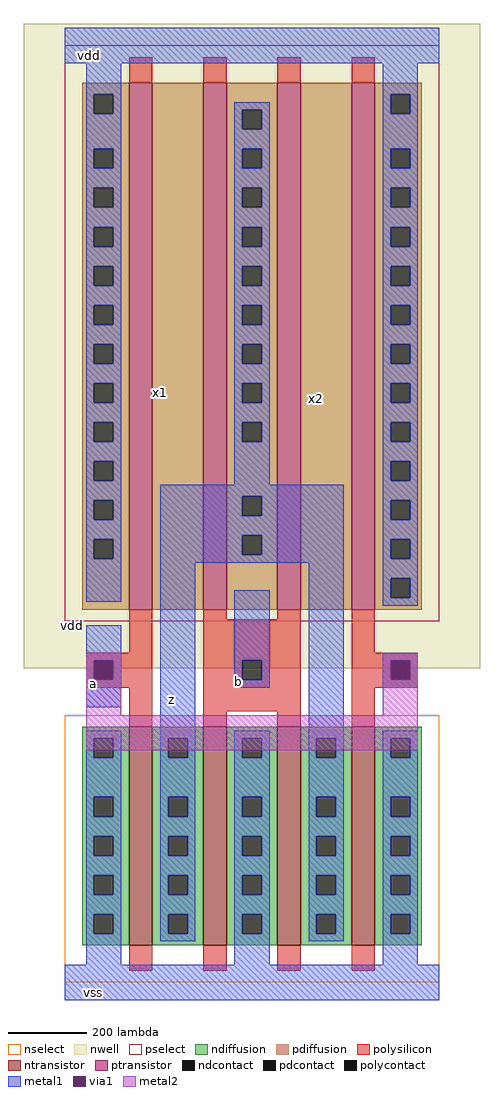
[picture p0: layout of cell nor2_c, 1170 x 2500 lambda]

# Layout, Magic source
magic
tech amic5n
<< nwell >>
rect 895 805 2065 2455
<< ntransistor >>
rect 1165 95 1225 655
rect 1355 95 1415 655
rect 1545 95 1605 655
rect 1735 95 1795 655
<< ptransistor >>
rect 1165 955 1225 2305
rect 1355 955 1415 2305
rect 1545 955 1605 2305
rect 1735 955 1795 2305
<< nselect >>
rect 1000 0 1960 685
<< pselect >>
rect 1000 925 1960 2400
<< ndiffusion >>
rect 1045 625 1165 655
rect 1045 575 1075 625
rect 1125 575 1165 625
rect 1045 475 1165 575
rect 1045 425 1075 475
rect 1125 425 1165 475
rect 1045 375 1165 425
rect 1045 325 1075 375
rect 1125 325 1165 375
rect 1045 275 1165 325
rect 1045 225 1075 275
rect 1125 225 1165 275
rect 1045 175 1165 225
rect 1045 125 1075 175
rect 1125 125 1165 175
rect 1045 95 1165 125
rect 1225 625 1355 655
rect 1225 575 1265 625
rect 1315 575 1355 625
rect 1225 475 1355 575
rect 1225 425 1265 475
rect 1315 425 1355 475
rect 1225 375 1355 425
rect 1225 325 1265 375
rect 1315 325 1355 375
rect 1225 275 1355 325
rect 1225 225 1265 275
rect 1315 225 1355 275
rect 1225 175 1355 225
rect 1225 125 1265 175
rect 1315 125 1355 175
rect 1225 95 1355 125
rect 1415 625 1545 655
rect 1415 575 1455 625
rect 1505 575 1545 625
rect 1415 475 1545 575
rect 1415 425 1455 475
rect 1505 425 1545 475
rect 1415 375 1545 425
rect 1415 325 1455 375
rect 1505 325 1545 375
rect 1415 275 1545 325
rect 1415 225 1455 275
rect 1505 225 1545 275
rect 1415 175 1545 225
rect 1415 125 1455 175
rect 1505 125 1545 175
rect 1415 95 1545 125
rect 1605 625 1735 655
rect 1605 575 1645 625
rect 1695 575 1735 625
rect 1605 475 1735 575
rect 1605 425 1645 475
rect 1695 425 1735 475
rect 1605 375 1735 425
rect 1605 325 1645 375
rect 1695 325 1735 375
rect 1605 275 1735 325
rect 1605 225 1645 275
rect 1695 225 1735 275
rect 1605 175 1735 225
rect 1605 125 1645 175
rect 1695 125 1735 175
rect 1605 95 1735 125
rect 1795 625 1915 655
rect 1795 575 1835 625
rect 1885 575 1915 625
rect 1795 475 1915 575
rect 1795 425 1835 475
rect 1885 425 1915 475
rect 1795 375 1915 425
rect 1795 325 1835 375
rect 1885 325 1915 375
rect 1795 275 1915 325
rect 1795 225 1835 275
rect 1885 225 1915 275
rect 1795 175 1915 225
rect 1795 125 1835 175
rect 1885 125 1915 175
rect 1795 95 1915 125
<< pdiffusion >>
rect 1045 2275 1165 2305
rect 1045 2225 1075 2275
rect 1125 2225 1165 2275
rect 1045 2135 1165 2225
rect 1045 2085 1075 2135
rect 1125 2085 1165 2135
rect 1045 2035 1165 2085
rect 1045 1985 1075 2035
rect 1125 1985 1165 2035
rect 1045 1935 1165 1985
rect 1045 1885 1075 1935
rect 1125 1885 1165 1935
rect 1045 1835 1165 1885
rect 1045 1785 1075 1835
rect 1125 1785 1165 1835
rect 1045 1735 1165 1785
rect 1045 1685 1075 1735
rect 1125 1685 1165 1735
rect 1045 1635 1165 1685
rect 1045 1585 1075 1635
rect 1125 1585 1165 1635
rect 1045 1535 1165 1585
rect 1045 1485 1075 1535
rect 1125 1485 1165 1535
rect 1045 1435 1165 1485
rect 1045 1385 1075 1435
rect 1125 1385 1165 1435
rect 1045 1335 1165 1385
rect 1045 1285 1075 1335
rect 1125 1285 1165 1335
rect 1045 1235 1165 1285
rect 1045 1185 1075 1235
rect 1125 1185 1165 1235
rect 1045 1135 1165 1185
rect 1045 1085 1075 1135
rect 1125 1085 1165 1135
rect 1045 955 1165 1085
rect 1225 955 1355 2305
rect 1415 2235 1545 2305
rect 1415 2185 1455 2235
rect 1505 2185 1545 2235
rect 1415 2135 1545 2185
rect 1415 2085 1455 2135
rect 1505 2085 1545 2135
rect 1415 2035 1545 2085
rect 1415 1985 1455 2035
rect 1505 1985 1545 2035
rect 1415 1935 1545 1985
rect 1415 1885 1455 1935
rect 1505 1885 1545 1935
rect 1415 1835 1545 1885
rect 1415 1785 1455 1835
rect 1505 1785 1545 1835
rect 1415 1735 1545 1785
rect 1415 1685 1455 1735
rect 1505 1685 1545 1735
rect 1415 1635 1545 1685
rect 1415 1585 1455 1635
rect 1505 1585 1545 1635
rect 1415 1535 1545 1585
rect 1415 1485 1455 1535
rect 1505 1485 1545 1535
rect 1415 1435 1545 1485
rect 1415 1385 1455 1435
rect 1505 1385 1545 1435
rect 1415 1245 1545 1385
rect 1415 1195 1455 1245
rect 1505 1195 1545 1245
rect 1415 1145 1545 1195
rect 1415 1095 1455 1145
rect 1505 1095 1545 1145
rect 1415 955 1545 1095
rect 1605 955 1735 2305
rect 1795 2275 1915 2305
rect 1795 2225 1835 2275
rect 1885 2225 1915 2275
rect 1795 2135 1915 2225
rect 1795 2085 1835 2135
rect 1885 2085 1915 2135
rect 1795 2035 1915 2085
rect 1795 1985 1835 2035
rect 1885 1985 1915 2035
rect 1795 1935 1915 1985
rect 1795 1885 1835 1935
rect 1885 1885 1915 1935
rect 1795 1835 1915 1885
rect 1795 1785 1835 1835
rect 1885 1785 1915 1835
rect 1795 1735 1915 1785
rect 1795 1685 1835 1735
rect 1885 1685 1915 1735
rect 1795 1635 1915 1685
rect 1795 1585 1835 1635
rect 1885 1585 1915 1635
rect 1795 1535 1915 1585
rect 1795 1485 1835 1535
rect 1885 1485 1915 1535
rect 1795 1435 1915 1485
rect 1795 1385 1835 1435
rect 1885 1385 1915 1435
rect 1795 1335 1915 1385
rect 1795 1285 1835 1335
rect 1885 1285 1915 1335
rect 1795 1235 1915 1285
rect 1795 1185 1835 1235
rect 1885 1185 1915 1235
rect 1795 1135 1915 1185
rect 1795 1085 1835 1135
rect 1885 1085 1915 1135
rect 1795 1035 1915 1085
rect 1795 985 1835 1035
rect 1885 985 1915 1035
rect 1795 955 1915 985
<< ndcontact >>
rect 1075 575 1125 625
rect 1075 425 1125 475
rect 1075 325 1125 375
rect 1075 225 1125 275
rect 1075 125 1125 175
rect 1265 575 1315 625
rect 1265 425 1315 475
rect 1265 325 1315 375
rect 1265 225 1315 275
rect 1265 125 1315 175
rect 1455 575 1505 625
rect 1455 425 1505 475
rect 1455 325 1505 375
rect 1455 225 1505 275
rect 1455 125 1505 175
rect 1645 575 1695 625
rect 1645 425 1695 475
rect 1645 325 1695 375
rect 1645 225 1695 275
rect 1645 125 1695 175
rect 1835 575 1885 625
rect 1835 425 1885 475
rect 1835 325 1885 375
rect 1835 225 1885 275
rect 1835 125 1885 175
<< pdcontact >>
rect 1075 2225 1125 2275
rect 1075 2085 1125 2135
rect 1075 1985 1125 2035
rect 1075 1885 1125 1935
rect 1075 1785 1125 1835
rect 1075 1685 1125 1735
rect 1075 1585 1125 1635
rect 1075 1485 1125 1535
rect 1075 1385 1125 1435
rect 1075 1285 1125 1335
rect 1075 1185 1125 1235
rect 1075 1085 1125 1135
rect 1455 2185 1505 2235
rect 1455 2085 1505 2135
rect 1455 1985 1505 2035
rect 1455 1885 1505 1935
rect 1455 1785 1505 1835
rect 1455 1685 1505 1735
rect 1455 1585 1505 1635
rect 1455 1485 1505 1535
rect 1455 1385 1505 1435
rect 1455 1195 1505 1245
rect 1455 1095 1505 1145
rect 1835 2225 1885 2275
rect 1835 2085 1885 2135
rect 1835 1985 1885 2035
rect 1835 1885 1885 1935
rect 1835 1785 1885 1835
rect 1835 1685 1885 1735
rect 1835 1585 1885 1635
rect 1835 1485 1885 1535
rect 1835 1385 1885 1435
rect 1835 1285 1885 1335
rect 1835 1185 1885 1235
rect 1835 1085 1885 1135
rect 1835 985 1885 1035
<< polysilicon >>
rect 1165 2305 1225 2370
rect 1355 2305 1415 2370
rect 1545 2305 1605 2370
rect 1735 2305 1795 2370
rect 1165 845 1225 955
rect 1055 825 1225 845
rect 1055 775 1075 825
rect 1125 775 1225 825
rect 1055 755 1225 775
rect 1165 655 1225 755
rect 1355 930 1415 955
rect 1545 930 1605 955
rect 1355 825 1605 930
rect 1355 775 1455 825
rect 1505 775 1605 825
rect 1355 695 1605 775
rect 1355 655 1415 695
rect 1545 655 1605 695
rect 1735 845 1795 955
rect 1735 825 1905 845
rect 1735 775 1835 825
rect 1885 775 1905 825
rect 1735 755 1905 775
rect 1735 655 1795 755
rect 1165 30 1225 95
rect 1355 30 1415 95
rect 1545 30 1605 95
rect 1735 30 1795 95
<< polycontact >>
rect 1075 775 1125 825
rect 1455 775 1505 825
rect 1835 775 1885 825
<< metal1 >>
rect 1000 2355 1960 2445
rect 1055 2275 1145 2355
rect 1055 2225 1075 2275
rect 1125 2225 1145 2275
rect 1815 2275 1905 2355
rect 1055 2135 1145 2225
rect 1055 2085 1075 2135
rect 1125 2085 1145 2135
rect 1055 2035 1145 2085
rect 1055 1985 1075 2035
rect 1125 1985 1145 2035
rect 1055 1935 1145 1985
rect 1055 1885 1075 1935
rect 1125 1885 1145 1935
rect 1055 1835 1145 1885
rect 1055 1785 1075 1835
rect 1125 1785 1145 1835
rect 1055 1735 1145 1785
rect 1055 1685 1075 1735
rect 1125 1685 1145 1735
rect 1055 1635 1145 1685
rect 1055 1585 1075 1635
rect 1125 1585 1145 1635
rect 1055 1535 1145 1585
rect 1055 1485 1075 1535
rect 1125 1485 1145 1535
rect 1055 1435 1145 1485
rect 1055 1385 1075 1435
rect 1125 1385 1145 1435
rect 1055 1335 1145 1385
rect 1055 1285 1075 1335
rect 1125 1285 1145 1335
rect 1055 1235 1145 1285
rect 1435 2235 1525 2255
rect 1435 2185 1455 2235
rect 1505 2185 1525 2235
rect 1435 2135 1525 2185
rect 1435 2085 1455 2135
rect 1505 2085 1525 2135
rect 1435 2035 1525 2085
rect 1435 1985 1455 2035
rect 1505 1985 1525 2035
rect 1435 1935 1525 1985
rect 1435 1885 1455 1935
rect 1505 1885 1525 1935
rect 1435 1835 1525 1885
rect 1435 1785 1455 1835
rect 1505 1785 1525 1835
rect 1435 1735 1525 1785
rect 1435 1685 1455 1735
rect 1505 1685 1525 1735
rect 1435 1635 1525 1685
rect 1435 1585 1455 1635
rect 1505 1585 1525 1635
rect 1435 1535 1525 1585
rect 1435 1485 1455 1535
rect 1505 1485 1525 1535
rect 1435 1435 1525 1485
rect 1435 1385 1455 1435
rect 1505 1385 1525 1435
rect 1435 1275 1525 1385
rect 1815 2225 1835 2275
rect 1885 2225 1905 2275
rect 1815 2135 1905 2225
rect 1815 2085 1835 2135
rect 1885 2085 1905 2135
rect 1815 2035 1905 2085
rect 1815 1985 1835 2035
rect 1885 1985 1905 2035
rect 1815 1935 1905 1985
rect 1815 1885 1835 1935
rect 1885 1885 1905 1935
rect 1815 1835 1905 1885
rect 1815 1785 1835 1835
rect 1885 1785 1905 1835
rect 1815 1735 1905 1785
rect 1815 1685 1835 1735
rect 1885 1685 1905 1735
rect 1815 1635 1905 1685
rect 1815 1585 1835 1635
rect 1885 1585 1905 1635
rect 1815 1535 1905 1585
rect 1815 1485 1835 1535
rect 1885 1485 1905 1535
rect 1815 1435 1905 1485
rect 1815 1385 1835 1435
rect 1885 1385 1905 1435
rect 1815 1335 1905 1385
rect 1815 1285 1835 1335
rect 1885 1285 1905 1335
rect 1055 1185 1075 1235
rect 1125 1185 1145 1235
rect 1055 1135 1145 1185
rect 1055 1085 1075 1135
rect 1125 1085 1145 1135
rect 1055 975 1145 1085
rect 1245 1245 1715 1275
rect 1245 1195 1455 1245
rect 1505 1195 1715 1245
rect 1245 1145 1715 1195
rect 1245 1095 1455 1145
rect 1505 1095 1715 1145
rect 1245 1075 1715 1095
rect 1055 825 1145 915
rect 1055 775 1075 825
rect 1125 775 1145 825
rect 1055 705 1145 775
rect 1055 625 1145 645
rect 1055 575 1075 625
rect 1125 575 1145 625
rect 1055 475 1145 575
rect 1055 425 1075 475
rect 1125 425 1145 475
rect 1055 375 1145 425
rect 1055 325 1075 375
rect 1125 325 1145 375
rect 1055 275 1145 325
rect 1055 225 1075 275
rect 1125 225 1145 275
rect 1055 175 1145 225
rect 1055 125 1075 175
rect 1125 125 1145 175
rect 1055 45 1145 125
rect 1245 625 1335 1075
rect 1435 825 1525 1005
rect 1435 775 1455 825
rect 1505 775 1525 825
rect 1435 755 1525 775
rect 1245 575 1265 625
rect 1315 575 1335 625
rect 1245 475 1335 575
rect 1245 425 1265 475
rect 1315 425 1335 475
rect 1245 375 1335 425
rect 1245 325 1265 375
rect 1315 325 1335 375
rect 1245 275 1335 325
rect 1245 225 1265 275
rect 1315 225 1335 275
rect 1245 175 1335 225
rect 1245 125 1265 175
rect 1315 125 1335 175
rect 1245 105 1335 125
rect 1435 625 1525 645
rect 1435 575 1455 625
rect 1505 575 1525 625
rect 1435 475 1525 575
rect 1435 425 1455 475
rect 1505 425 1525 475
rect 1435 375 1525 425
rect 1435 325 1455 375
rect 1505 325 1525 375
rect 1435 275 1525 325
rect 1435 225 1455 275
rect 1505 225 1525 275
rect 1435 175 1525 225
rect 1435 125 1455 175
rect 1505 125 1525 175
rect 1435 45 1525 125
rect 1625 625 1715 1075
rect 1815 1235 1905 1285
rect 1815 1185 1835 1235
rect 1885 1185 1905 1235
rect 1815 1135 1905 1185
rect 1815 1085 1835 1135
rect 1885 1085 1905 1135
rect 1815 1035 1905 1085
rect 1815 985 1835 1035
rect 1885 985 1905 1035
rect 1815 965 1905 985
rect 1815 825 1905 845
rect 1815 775 1835 825
rect 1885 775 1905 825
rect 1815 755 1905 775
rect 1625 575 1645 625
rect 1695 575 1715 625
rect 1625 475 1715 575
rect 1625 425 1645 475
rect 1695 425 1715 475
rect 1625 375 1715 425
rect 1625 325 1645 375
rect 1695 325 1715 375
rect 1625 275 1715 325
rect 1625 225 1645 275
rect 1695 225 1715 275
rect 1625 175 1715 225
rect 1625 125 1645 175
rect 1695 125 1715 175
rect 1625 105 1715 125
rect 1815 625 1905 645
rect 1815 575 1835 625
rect 1885 575 1905 625
rect 1815 475 1905 575
rect 1815 425 1835 475
rect 1885 425 1905 475
rect 1815 375 1905 425
rect 1815 325 1835 375
rect 1885 325 1905 375
rect 1815 275 1905 325
rect 1815 225 1835 275
rect 1885 225 1905 275
rect 1815 175 1905 225
rect 1815 125 1835 175
rect 1885 125 1905 175
rect 1815 45 1905 125
rect 1000 -45 1960 45
<< via1 >>
rect 1075 775 1125 825
rect 1835 775 1885 825
<< metal2 >>
rect 1055 825 1145 845
rect 1055 775 1075 825
rect 1125 775 1145 825
rect 1055 685 1145 775
rect 1815 825 1905 845
rect 1815 775 1835 825
rect 1885 775 1905 825
rect 1815 685 1905 775
rect 1055 595 1905 685
<< labels >>
flabel metal1 s 1075 765 1075 765 2 FreeSans 400 0 0 0 a
port 2 ne
flabel metal1 s 1065 2375 1065 2375 2 FreeSans 400 0 0 0 vdd
port 3 ne
flabel metal1 s 1075 -25 1075 -25 2 FreeSans 400 0 0 0 vss
port 4 ne
flabel metal1 s 1275 725 1275 725 2 FreeSans 400 0 0 0 z
port 1 ne
flabel nwell 1020 915 1020 915 8 FreeSans 400 180 0 0 vdd
flabel ndiffusion s 1245 1510 1245 1510 2 FreeSans 400 0 0 0 x1
flabel ndiffusion s 1645 1495 1645 1495 2 FreeSans 400 0 0 0 x2
flabel metal1 s 1445 770 1445 770 2 FreeSans 400 0 0 0 b
port 3 ne
<< end >>
